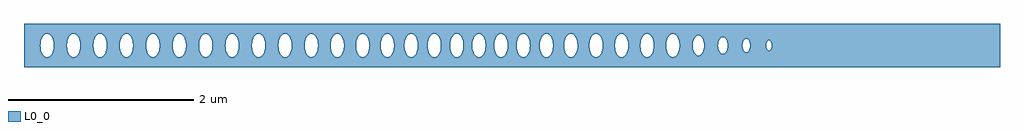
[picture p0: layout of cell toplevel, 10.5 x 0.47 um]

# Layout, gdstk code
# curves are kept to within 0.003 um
import gdstk
lib = gdstk.Library(unit=1e-6, precision=1e-09)
def P(c, l, *ps):  # polygons
    for p in ps: c.add(gdstk.Polygon(p, *l))
L0_0 = (0, 0)

toplevel = lib.new_cell('toplevel')
P(toplevel, L0_0, [(-4.423,-0.234),(-4.423,-0.126),(-4.446,-0.125),(-4.459,-0.119),(-4.475,-0.103),(-4.491,-0.075),(-4.504,-0.016),(-4.498,0.054),(-4.482,0.093),(-4.459,0.119),(-4.432,0.128),(-4.423,0.126),(-4.423,0.234),(-5.25,0.234),(-5.25,-0.008),(-5.073,-0.008),(-5.068,0.047),(-5.05,0.093),(-5.027,0.119),(-5.001,0.128),(-4.974,0.119),(-4.951,0.093),(-4.933,0.047),(-4.928,-0.008),(-4.789,-0.008),(-4.784,0.047),(-4.766,0.093),(-4.743,0.119),(-4.716,0.128),(-4.69,0.119),(-4.67,0.098),(-4.655,0.068),(-4.644,0.016),(-4.647,-0.039),(-4.658,-0.075),(-4.681,-0.112),(-4.716,-0.128),(-4.743,-0.119),(-4.766,-0.093),(-4.784,-0.047),(-4.789,-0.008),(-4.928,-0.008),(-4.939,-0.068),(-4.954,-0.098),(-4.974,-0.119),(-5.001,-0.128),(-5.027,-0.119),(-5.047,-0.098),(-5.062,-0.068),(-5.073,-0.008),(-5.25,-0.008),(-5.25,-0.234)],
  [(0.923,0.234),(0.923,0.123),(0.943,0.108),(0.963,0.075),(0.975,0.032),(0.977,0),(1.106,0),(1.113,0.054),(1.129,0.093),(1.152,0.119),(1.179,0.128),(1.206,0.119),(1.225,0.098),(1.24,0.068),(1.251,0.016),(1.248,-0.039),(1.235,-0.081),(1.206,-0.119),(1.179,-0.128),(1.152,-0.119),(1.129,-0.093),(1.113,-0.054),(1.106,0),(0.977,0),(0.975,-0.032),(0.963,-0.075),(0.943,-0.108),(0.923,-0.123),(0.923,-0.234),(1.525,-0.234),(1.525,-0.018),(1.517,-0.061),(1.503,-0.093),(1.48,-0.119),(1.453,-0.128),(1.427,-0.119),(1.407,-0.098),(1.392,-0.068),(1.381,-0.016),(1.384,0.039),(1.397,0.081),(1.418,0.112),(1.444,0.126),(1.467,0.125),(1.48,0.119),(1.496,0.103),(1.517,0.061),(1.525,0.016),(1.525,0.234)],
  [(2.238,0.074),(2.262,0.091),(2.275,0.091),(2.29,0.083),(2.304,0.067),(2.314,0.044),(2.32,-0.005),(2.478,-0.005),(2.48,0.023),(2.493,0.057),(2.507,0.07),(2.523,0.074),(2.538,0.067),(2.551,0.05),(2.561,0.018),(2.561,-0.01),(2.733,-0.01),(2.734,0.017),(2.74,0.036),(2.749,0.049),(2.763,0.056),(2.776,0.052),(2.788,0.038),(2.795,0.017),(2.796,-0.01),(2.785,-0.043),(2.767,-0.056),(2.753,-0.052),(2.744,-0.043),(2.733,-0.01),(2.561,-0.01),(2.557,-0.035),(2.545,-0.06),(2.533,-0.07),(2.518,-0.074),(2.502,-0.067),(2.493,-0.057),(2.483,-0.035),(2.478,-0.005),(2.32,-0.005),(2.314,-0.044),(2.304,-0.067),(2.29,-0.083),(2.275,-0.091),(2.262,-0.091),(2.246,-0.083),(2.233,-0.067),(2.233,-0.234),(5.25,-0.234),(5.25,0.234),(2.233,0.234),(2.233,0.067)],
  [(-4.363,-0.039),(-4.382,-0.093),(-4.405,-0.119),(-4.423,-0.126),(-4.423,-0.234),(-4.08,-0.234),(-4.08,-0.047),(-4.089,-0.075),(-4.109,-0.108),(-4.121,-0.119),(-4.148,-0.128),(-4.174,-0.119),(-4.194,-0.098),(-4.209,-0.068),(-4.22,-0.016),(-4.218,0.032),(-4.209,0.068),(-4.187,0.108),(-4.166,0.123),(-4.143,0.127),(-4.113,0.112),(-4.098,0.093),(-4.08,0.047),(-4.08,0.234),(-4.423,0.234),(-4.423,0.126),(-4.405,0.119),(-4.393,0.108),(-4.373,0.075),(-4.36,0.016)],
  [(-4.079,-0.039),(-4.08,-0.234),(-3.646,-0.234),(-3.646,-0.047),(-3.652,0),(-3.646,0.047),(-3.646,0.234),(-4.08,0.234),(-4.08,0.047),(-4.075,-0.008),(-3.936,-0.008),(-3.931,0.047),(-3.913,0.093),(-3.89,0.119),(-3.863,0.128),(-3.837,0.119),(-3.817,0.098),(-3.802,0.068),(-3.791,0.008),(-3.796,-0.047),(-3.814,-0.093),(-3.837,-0.119),(-3.863,-0.128),(-3.89,-0.119),(-3.91,-0.098),(-3.925,-0.068),(-3.936,-0.008),(-4.075,-0.008)],
  [(-3.51,-0.039),(-3.523,-0.081),(-3.54,-0.108),(-3.552,-0.119),(-3.579,-0.128),(-3.606,-0.119),(-3.618,-0.108),(-3.638,-0.075),(-3.646,-0.05),(-3.646,-0.234),(-3.334,-0.234),(-3.334,-0.108),(-3.356,-0.068),(-3.367,-0.016),(-3.362,0.047),(-3.351,0.081),(-3.334,0.108),(-3.334,0.234),(-3.646,0.234),(-3.646,0.047),(-3.629,0.093),(-3.606,0.119),(-3.579,0.128),(-3.552,0.119),(-3.526,0.087),(-3.512,0.047),(-3.507,0.016)],
  [(-3.326,0.115),(-3.295,0.128),(-3.268,0.119),(-3.256,0.108),(-3.231,0.061),(-3.222,0),(-3.231,-0.061),(-3.245,-0.093),(-3.26,-0.112),(-3.272,-0.121),(-3.295,-0.128),(-3.321,-0.119),(-3.334,-0.108),(-3.334,-0.234),(-3.001,-0.234),(-3.001,-0.126),(-3.011,-0.128),(-3.029,-0.123),(-3.057,-0.098),(-3.072,-0.068),(-3.083,-0.008),(-3.078,0.047),(-3.057,0.098),(-3.037,0.119),(-3.011,0.128),(-3.001,0.126),(-3.001,0.234),(-3.334,0.234),(-3.334,0.108)],
  [(-2.939,-0.016),(-2.943,-0.047),(-2.961,-0.093),(-2.984,-0.119),(-3.001,-0.126),(-3.001,-0.234),(-2.684,-0.234),(-2.684,-0.103),(-2.7,-0.119),(-2.726,-0.128),(-2.749,-0.121),(-2.761,-0.112),(-2.776,-0.093),(-2.79,-0.061),(-2.799,0),(-2.79,0.061),(-2.776,0.093),(-2.761,0.112),(-2.749,0.121),(-2.726,0.128),(-2.7,0.119),(-2.684,0.103),(-2.684,0.234),(-3.001,0.234),(-3.001,0.126),(-2.984,0.119),(-2.972,0.108),(-2.952,0.075),(-2.94,0.032)],
  [(-2.372,-0.035),(-2.383,-0.075),(-2.399,-0.103),(-2.415,-0.119),(-2.442,-0.128),(-2.469,-0.119),(-2.488,-0.098),(-2.503,-0.068),(-2.514,-0.016),(-2.511,0.039),(-2.498,0.081),(-2.481,0.108),(-2.455,0.125),(-2.428,0.125),(-2.403,0.108),(-2.383,0.075),(-2.372,0.032),(-2.372,0.234),(-2.684,0.234),(-2.684,0.103),(-2.665,0.068),(-2.654,0.016),(-2.659,-0.047),(-2.67,-0.081),(-2.684,-0.103),(-2.684,-0.234),(-2.372,-0.234)],
  [(-2.372,-0.032),(-2.372,-0.234),(-1.929,-0.234),(-1.929,-0.093),(-1.945,-0.054),(-1.951,-0.016),(-1.945,0.054),(-1.929,0.093),(-1.929,0.234),(-2.372,0.234),(-2.37,-0.008),(-2.231,-0.008),(-2.226,0.047),(-2.208,0.093),(-2.185,0.119),(-2.159,0.128),(-2.132,0.119),(-2.112,0.098),(-2.097,0.068),(-2.086,0.008),(-2.091,-0.047),(-2.109,-0.093),(-2.132,-0.119),(-2.159,-0.128),(-2.185,-0.119),(-2.205,-0.098),(-2.22,-0.068),(-2.231,-0.008),(-2.37,-0.008)],
  [(-1.922,0.103),(-1.906,0.119),(-1.879,0.128),(-1.852,0.119),(-1.84,0.108),(-1.82,0.075),(-1.812,0.047),(-1.807,-0.016),(-1.82,-0.075),(-1.836,-0.103),(-1.852,-0.119),(-1.879,-0.128),(-1.893,-0.125),(-1.914,-0.112),(-1.929,-0.093),(-1.929,-0.234),(-1.597,-0.234),(-1.597,-0.126),(-1.619,-0.125),(-1.645,-0.108),(-1.667,-0.068),(-1.678,-0.016),(-1.675,0.039),(-1.659,0.087),(-1.632,0.119),(-1.606,0.128),(-1.597,0.126),(-1.597,0.234),(-1.929,0.234),(-1.929,0.093)],
  [(-1.537,-0.039),(-1.556,-0.093),(-1.579,-0.119),(-1.597,-0.126),(-1.597,-0.234),(-1.306,-0.234),(-1.306,-0.112),(-1.318,-0.121),(-1.341,-0.128),(-1.376,-0.112),(-1.397,-0.081),(-1.413,-0.016),(-1.408,0.047),(-1.397,0.081),(-1.38,0.108),(-1.367,0.119),(-1.341,0.128),(-1.318,0.121),(-1.306,0.112),(-1.306,0.234),(-1.597,0.234),(-1.597,0.126),(-1.579,0.119),(-1.567,0.108),(-1.547,0.075),(-1.534,0.016)],
  [(-1.272,-0.039),(-1.282,-0.075),(-1.306,-0.112),(-1.306,-0.234),(-0.908,-0.234),(-0.908,0.234),(-1.306,0.234),(-1.306,0.112),(-1.291,0.093),(-1.277,0.061),(-1.268,-0.008),(-1.157,-0.008),(-1.152,0.047),(-1.134,0.093),(-1.111,0.119),(-1.084,0.128),(-1.058,0.119),(-1.038,0.098),(-1.023,0.068),(-1.012,0.016),(-1.015,-0.039),(-1.026,-0.075),(-1.049,-0.112),(-1.084,-0.128),(-1.111,-0.119),(-1.134,-0.093),(-1.152,-0.047),(-1.157,-0.008),(-1.268,-0.008)],
  [(-0.767,-0.039),(-0.777,-0.075),(-0.793,-0.103),(-0.809,-0.119),(-0.836,-0.128),(-0.863,-0.119),(-0.886,-0.093),(-0.895,-0.075),(-0.908,-0.016),(-0.908,-0.234),(-0.625,-0.234),(-0.625,-0.115),(-0.653,-0.075),(-0.666,-0.016),(-0.666,0.016),(-0.658,0.061),(-0.644,0.093),(-0.625,0.115),(-0.625,0.234),(-0.908,0.234),(-0.908,0.016),(-0.895,0.075),(-0.879,0.103),(-0.863,0.119),(-0.85,0.125),(-0.822,0.125),(-0.797,0.108),(-0.777,0.075),(-0.764,0.016)],
  [(-0.616,0.121),(-0.594,0.128),(-0.58,0.125),(-0.567,0.119),(-0.548,0.098),(-0.535,0.075),(-0.525,0.039),(-0.522,-0.016),(-0.535,-0.075),(-0.559,-0.112),(-0.58,-0.125),(-0.594,-0.128),(-0.625,-0.115),(-0.625,-0.234),(-0.325,-0.234),(-0.325,-0.115),(-0.356,-0.128),(-0.391,-0.112),(-0.412,-0.081),(-0.428,-0.016),(-0.423,0.047),(-0.412,0.081),(-0.395,0.108),(-0.382,0.119),(-0.356,0.128),(-0.325,0.115),(-0.325,0.234),(-0.625,0.234),(-0.625,0.115)],
  [(-0.286,-0.032),(-0.297,-0.075),(-0.325,-0.115),(-0.325,-0.234),(-0.05,-0.234),(-0.05,-0.039),(-0.057,-0.068),(-0.072,-0.098),(-0.092,-0.119),(-0.119,-0.128),(-0.145,-0.119),(-0.165,-0.098),(-0.18,-0.068),(-0.191,-0.008),(-0.189,0.032),(-0.177,0.075),(-0.157,0.108),(-0.132,0.125),(-0.105,0.125),(-0.08,0.108),(-0.06,0.075),(-0.05,0.039),(-0.05,0.234),(-0.325,0.234),(-0.325,0.115),(-0.306,0.093),(-0.29,0.054),(-0.283,0)],
  [(-0.047,-0.027),(-0.05,-0.234),(0.307,-0.234),(0.307,-0.061),(0.299,-0.016),(0.299,0.016),(0.307,0.06),(0.307,0.234),(-0.05,0.234),(-0.05,0.039),(-0.046,-0.008),(0.049,-0.008),(0.054,0.047),(0.072,0.093),(0.095,0.119),(0.122,0.128),(0.148,0.119),(0.168,0.098),(0.183,0.068),(0.194,0.008),(0.189,-0.047),(0.171,-0.093),(0.148,-0.119),(0.122,-0.128),(0.095,-0.119),(0.075,-0.098),(0.06,-0.068),(0.049,-0.008),(-0.046,-0.008)],
  [(0.44,-0.039),(0.427,-0.081),(0.41,-0.108),(0.398,-0.119),(0.371,-0.128),(0.344,-0.119),(0.332,-0.108),(0.307,-0.062),(0.307,-0.234),(0.602,-0.234),(0.602,-0.115),(0.577,-0.081),(0.561,-0.016),(0.563,0.032),(0.572,0.068),(0.587,0.098),(0.602,0.115),(0.602,0.234),(0.307,0.234),(0.307,0.061),(0.321,0.093),(0.344,0.119),(0.371,0.128),(0.398,0.119),(0.424,0.087),(0.438,0.047),(0.443,0.016)],
  [(0.611,0.121),(0.633,0.128),(0.647,0.125),(0.668,0.112),(0.683,0.093),(0.702,0.039),(0.705,-0.018),(0.692,-0.075),(0.668,-0.112),(0.647,-0.125),(0.633,-0.128),(0.602,-0.115),(0.602,-0.234),(0.923,-0.234),(0.923,-0.123),(0.905,-0.128),(0.891,-0.125),(0.878,-0.119),(0.858,-0.098),(0.843,-0.068),(0.832,-0.008),(0.837,0.047),(0.858,0.098),(0.878,0.119),(0.891,0.125),(0.905,0.128),(0.923,0.123),(0.923,0.234),(0.602,0.234),(0.602,0.115)],
  [(1.957,-0.234),(1.957,-0.07),(1.943,-0.014),(1.946,0.034),(1.957,0.07),(1.957,0.234),(1.525,0.234),(1.525,-0.008),(1.658,-0.008),(1.663,0.047),(1.681,0.093),(1.704,0.119),(1.73,0.128),(1.757,0.119),(1.777,0.098),(1.794,0.061),(1.803,0.008),(1.798,-0.047),(1.78,-0.093),(1.757,-0.119),(1.73,-0.128),(1.704,-0.119),(1.684,-0.098),(1.669,-0.068),(1.658,-0.008),(1.525,-0.008),(1.525,-0.234)],
  [(1.962,0.08),(1.975,0.096),(1.993,0.108),(2.013,0.109),(2.032,0.099),(2.048,0.08),(2.06,0.053),(2.067,-0.014),(2.053,-0.07),(2.042,-0.089),(2.021,-0.106),(2.005,-0.11),(1.982,-0.102),(1.957,-0.07),(1.957,-0.234),(2.233,-0.234),(2.233,-0.067),(2.221,-0.039),(2.216,-0.006),(2.221,0.039),(2.233,0.067),(2.233,0.234),(1.957,0.234),(1.957,0.07)])

lib.write_gds('toplevel.gds')
